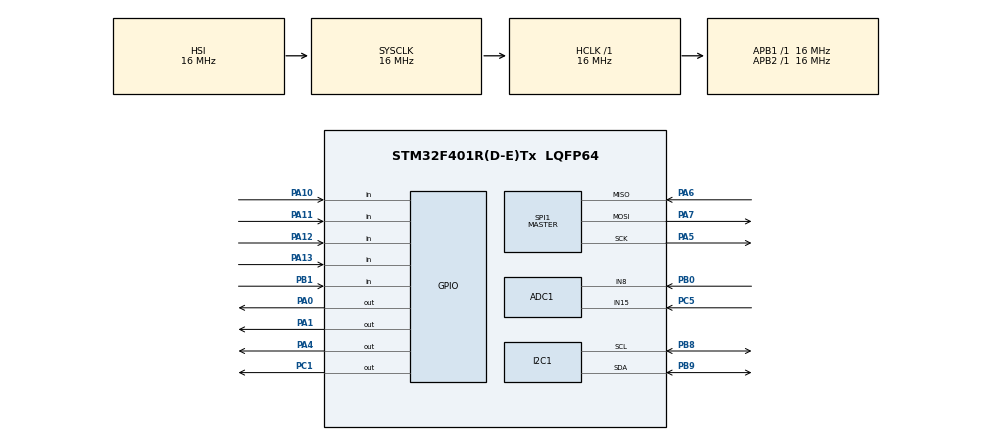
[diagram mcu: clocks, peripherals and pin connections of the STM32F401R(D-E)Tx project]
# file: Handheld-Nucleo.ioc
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ADC1.Channel-0\#ChannelRegularConversion=ADC_CHANNEL_15
ADC1.NbrOfConversionFlag=1
ADC1.Rank-0\#ChannelRegularConversion=1
ADC1.SamplingTime-0\#ChannelRegularConversion=ADC_SAMPLETIME_3CYCLES
ADC1.master=1
Mcu.Family=STM32F4
Mcu.Name=STM32F401R(D-E)Tx
Mcu.Package=LQFP64
NVIC.PriorityGroup=NVIC_PRIORITYGROUP_4
PA0-WKUP.Signal=GPIO_Output
PA1.Signal=GPIO_Output
PA10.Signal=GPIO_Input
PA11.Signal=GPIO_Input
PA12.Signal=GPIO_Input
PA13.Signal=GPIO_Input
PA4.Signal=GPIO_Output
PA5.Mode=Full_Duplex_Master
PA5.Signal=SPI1_SCK
PA6.Mode=Full_Duplex_Master
PA6.Signal=SPI1_MISO
PA7.Mode=Full_Duplex_Master
PA7.Signal=SPI1_MOSI
PB0.Signal=ADCx_IN8
PB1.Signal=GPIO_Input
PB8.Mode=I2C
PB8.Signal=I2C1_SCL
PB9.Mode=I2C
PB9.Signal=I2C1_SDA
PC1.Signal=GPIO_Output
PC5.Signal=ADCx_IN15
PH0\ -\ OSC_IN.Mode=HSE-External-Oscillator
PH0\ -\ OSC_IN.Signal=RCC_OSC_IN
PH1\ -\ OSC_OUT.Mode=HSE-External-Oscillator
PH1\ -\ OSC_OUT.Signal=RCC_OSC_OUT
ProjectManager.HeapSize=0x200
ProjectManager.StackSize=0x400
ProjectManager.TargetToolchain=STM32CubeIDE
RCC.AHBFreq_Value=16000000
RCC.APB1Freq_Value=16000000
RCC.APB2Freq_Value=16000000
RCC.CortexFreq_Value=16000000
RCC.HSE_VALUE=25000000
RCC.HSI_VALUE=16000000
RCC.LSE_VALUE=32768
RCC.SYSCLKFreq_VALUE=16000000
RCC.VCOOutputFreq_Value=192000000
SH.ADCx_IN15.0=ADC1_IN15,IN15
SH.ADCx_IN8.0=ADC1_IN8,IN8
SPI1.Direction=SPI_DIRECTION_2LINES
SPI1.Mode=SPI_MODE_MASTER
SPI1.VirtualType=VM_MASTER
board=custom

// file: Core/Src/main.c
/* USER CODE BEGIN Header */
/**
  ******************************************************************************
  * @file           : main.c
  * @brief          : Main program body
  ******************************************************************************
  * @attention
  *
  * Copyright (c) 2025 STMicroelectronics.
  * All rights reserved.
  *
  * This software is licensed under terms that can be found in the LICENSE file
  * in the root directory of this software component.
  * If no LICENSE file comes with this software, it is provided AS-IS.
  *
  ******************************************************************************
  */
/* USER CODE END Header */
#include "main.h"
#include <stdbool.h>
#include <string.h>
#include "snake.h"
#include "pingpong.h"
#include "ili9341.h"
#include "fonts.h"
#include "testimg.h"
#include "mpu6050.h"

/* USER CODE BEGIN PD */
#define STATE_INTRO 0
#define STATE_MENU 1
#define STATE_GAME_SNAKE 2
#define STATE_GAME_PONG 3
#define STATE_GAME_OVER 4
#define MPU_ACCEL_X_UP_THRESHOLD 2500
#define MPU_ACCEL_X_DOWN_THRESHOLD 1500
#define MPU_ACCEL_Y_LEFT_THRESHOLD 1500
#define MPU_ACCEL_Y_RIGHT_THRESHOLD 2500
#define MPU_LED_PORT GPIOC
#define MPU_LED_PIN GPIO_PIN_1
#define JOYSTICK_X_ADC_CHANNEL ADC_CHANNEL_15
#define JOYSTICK_Y_ADC_CHANNEL ADC_CHANNEL_8
#define JOYSTICK_BUTTON_PORT GPIOC
#define JOYSTICK_BUTTON_PIN GPIO_PIN_4
#define JOYSTICK_THRESHOLD 3500

/* USER CODE END PD */

/* USER CODE BEGIN PM */
uint16_t getADC(uint32_t channel);
bool isButtonHeld(GPIO_TypeDef *port, uint16_t pin);
void handleInput(void);
void drawIntroScreen(void);
void drawMenuScreen(void);
void drawGameOverScreen(void);
void runSnakeGame(void);
void runPingPongGame(void);

/* USER CODE END PM */

ADC_HandleTypeDef hadc1;

I2C_HandleTypeDef hi2c1;

SPI_HandleTypeDef hspi1;

/* USER CODE BEGIN PV */
volatile int currentState = STATE_INTRO;
volatile int menuSelection = 0; // 0 for Snake, 1 for Ping Pong
volatile bool isMpuControl = false;
uint32_t lastButtonPressTime = 0;
const uint32_t buttonDebounceDelay = 200;
volatile int mpu_x, mpu_y, mpu_z;
volatile bool snake_first_draw = true;

/* USER CODE END PV */

void SystemClock_Config(void);
static void MX_GPIO_Init(void);
static void MX_ADC1_Init(void);
static void MX_I2C1_Init(void);
static void MX_SPI1_Init(void);

int main(void)
{

  /* MCU Configuration--------------------------------------------------------*/

  /* Reset of all peripherals, Initializes the Flash interface and the Systick. */
  HAL_Init();

  /* Configure the system clock */
  SystemClock_Config();

  /* Initialize all configured peripherals */
  MX_GPIO_Init();
  MX_ADC1_Init();
  MX_I2C1_Init();
  MX_SPI1_Init();
  /* USER CODE BEGIN 2 */
  ILI9341_Init();
    MPU6050_Init();
    drawIntroScreen();

  /* USER CODE END 2 */

  /* Infinite loop */
  while (1)
  {
	  handleInput();
	  	      /* USER CODE END WHILE */
	  	  	  switch (currentState) {
	  	  	              case STATE_MENU:
	  	  	                  drawMenuScreen();
	  	  	                  break;
	  	  	              case STATE_GAME_SNAKE:
	  	  	                  runSnakeGame();
	  	  	                  break;
	  	  	              case STATE_GAME_PONG:
	  	  	                  runPingPongGame();
	  	  	                  break;
	  	  	              case STATE_GAME_OVER:
	  	  	                  drawGameOverScreen();
	  	  	                  break;
	  	  	              default:
	  	  	                  break;
	  	  	          }

  }
}
void drawIntroScreen(void) {
    ILI9341_FillScreen(ILI9341_BLACK);
    ILI9341_DrawImage(128, 40, 64, 64, intro);
    char temp_msg[] = "HANDHELD-CONSOLE";
    ILI9341_WriteString(32, 204,temp_msg, Font_16x26, ILI9341_WHITE, ILI9341_BLACK);
    HAL_Delay(2000);
    currentState = STATE_MENU;
}
void drawMenuScreen(void) {
    ILI9341_FillScreen(ILI9341_BLACK);
    char temp_msg[] = "SELECT GAME";
    ILI9341_WriteString(72, 10, temp_msg, Font_16x26, ILI9341_WHITE, ILI9341_BLACK);

    if (menuSelection == 0) {
        ILI9341_DrawImage(80, 56, 160, 40, menu1_2); // Highlighted Snake
        ILI9341_DrawImage(80, 116, 160, 40, menu2_1); // Unhighlighted Pong
    } else {
        ILI9341_DrawImage(80, 56, 160, 40, menu1_1); // Unhighlighted Snake
        ILI9341_DrawImage(80, 116, 160, 40, menu2_2); // Highlighted Pong
    }
}
void drawGameOverScreen(void) {
    ILI9341_FillScreen(ILI9341_BLACK);
    char temp_msg1[] = "Game Over";
    char temp_msg2[] = "Press Select to retry";
    ILI9341_WriteString(ILI9341_WIDTH / 2 - 50, ILI9341_HEIGHT / 2, temp_msg1, Font_16x26, ILI9341_RED, ILI9341_BLACK);
    ILI9341_WriteString(ILI9341_WIDTH / 2 - 80, ILI9341_HEIGHT / 2 + 30, temp_msg2, Font_7x10, ILI9341_WHITE, ILI9341_BLACK);
}
void handleInput(void) {
    //bool selectButtonPressed = (HAL_GPIO_ReadPin(JOYSTICK_BUTTON_PORT, JOYSTICK_BUTTON_PIN) == GPIO_PIN_SET);

    if ((HAL_GPIO_ReadPin(GPIOA , GPIO_PIN_10)==GPIO_PIN_RESET) ) {
        if (currentState == STATE_MENU) {
            if (menuSelection ==  0) {
            	 ILI9341_FillScreen(ILI9341_BLACK);
                 ILI9341_DrawImage(40,0,240,240,snake_intro);
                 ILI9341_FillScreen(ILI9341_BLACK);
                 ILI9341_DrawImage(0,0,320,35,bg_final_top);
                 ILI9341_DrawImage(0,205,320,35,bg_final_bottom);
                 ILI9341_DrawImage(0,35,47,170,bg_final_left);
                 ILI9341_DrawImage(274,35,46,170,bg_final_right);
                SNAKE_Init();
                currentState = STATE_GAME_SNAKE;
            } else if (menuSelection == 1) {
                currentState = STATE_GAME_PONG;
                ILI9341_FillScreen(ILI9341_BLACK);
                PingPong_Init();
            }
        } else if (currentState == STATE_GAME_OVER) {
            currentState = STATE_MENU;
            drawMenuScreen();
        } else {
            isMpuControl = !isMpuControl;
            if (isMpuControl) {
                HAL_GPIO_WritePin(MPU_LED_PORT, MPU_LED_PIN, GPIO_PIN_SET);
            } else {
                HAL_GPIO_WritePin(MPU_LED_PORT, MPU_LED_PIN, GPIO_PIN_RESET);
            }
        }
    }

    if (currentState == STATE_MENU) {
        uint16_t xVal = getADC(JOYSTICK_X_ADC_CHANNEL);
        if (HAL_GPIO_ReadPin(GPIOA,GPIO_PIN_11)==GPIO_PIN_RESET) { // Joystick UP
            menuSelection = 0;
        } else if (HAL_GPIO_ReadPin(GPIOA,GPIO_PIN_12)==GPIO_PIN_RESET) { // Joystick DOWN
            menuSelection = 1;
        }
    }
}
bool isButtonHeld(GPIO_TypeDef *port, uint16_t pin) {
    return (HAL_GPIO_ReadPin(port, pin) == GPIO_PIN_RESET);
}
void runSnakeGame(void) {
    if (SNAKE_getOver()) {
    	ILI9341_FillScreen(ILI9341_BLACK);
    	ILI9341_DrawImage(40, 0, 240, 240, snake_outro);
    	HAL_Delay(500);
        if(isButtonHeld(JOYSTICK_BUTTON_PORT,JOYSTICK_BUTTON_PIN)) currentState = STATE_MENU;
        return;
    }
    int direction;
    if (snake_first_draw){
    	direction = 1;
    	snake_first_draw = false;

    }

    if (isMpuControl) {
        MPU6050_Read_Accel(&mpu_x, &mpu_y, &mpu_z);
        if (mpu_x > MPU_ACCEL_X_UP_THRESHOLD) direction = 4; // Up
        if (mpu_x < MPU_ACCEL_X_DOWN_THRESHOLD) direction = 2; // Down
        if (mpu_y > MPU_ACCEL_Y_RIGHT_THRESHOLD) direction = 1; // Right
        if (mpu_y < MPU_ACCEL_Y_LEFT_THRESHOLD) direction = 3; // Left
    } else {
        uint16_t xVal = getADC(JOYSTICK_X_ADC_CHANNEL);
        uint16_t yVal = getADC(JOYSTICK_Y_ADC_CHANNEL);

        if (xVal > JOYSTICK_THRESHOLD) direction = 4; // Up
        if (xVal < 4095 - JOYSTICK_THRESHOLD) direction = 2; // Down
        if (yVal > JOYSTICK_THRESHOLD) direction = 1; // Right
        if (yVal < 4095 - JOYSTICK_THRESHOLD) direction = 3; // Left
    }

    if (direction != 0) {
        SNAKE_ChangeDirection(direction);
    }

    SNAKE_updateGame();
    SNAKE_drawGame();
    HAL_Delay(100);
}
void runPingPongGame(void) {
    if (PingPong_IsGameOver()) {
        currentState = STATE_GAME_OVER;
        return;
    }

    bool upPressed = false;
    bool downPressed = false;

    if (isMpuControl) {
        MPU6050_Read_Accel(&mpu_x, &mpu_y, &mpu_z);
        if (mpu_x > MPU_ACCEL_X_UP_THRESHOLD) upPressed = true;
        else if (mpu_x < MPU_ACCEL_X_DOWN_THRESHOLD) downPressed = true;
    } else {
        uint16_t xVal = getADC(JOYSTICK_X_ADC_CHANNEL);
        if (xVal > JOYSTICK_THRESHOLD) upPressed = true;
        else if (xVal < 4095 - JOYSTICK_THRESHOLD) downPressed = true;
    }

    PingPong_Update(upPressed, downPressed);
    PingPong_Draw();
    HAL_Delay(20);
}

uint16_t getADC(uint32_t channel){
    ADC_ChannelConfTypeDef adc_confg = {0};
    adc_confg.Channel = channel;
    adc_confg.Rank = 1;
    adc_confg.SamplingTime = ADC_SAMPLETIME_56CYCLES;
    HAL_ADC_ConfigChannel(&hadc1,&adc_confg);
    HAL_ADC_Start(&hadc1);
    HAL_ADC_PollForConversion(&hadc1 , HAL_MAX_DELAY);
    uint16_t val = HAL_ADC_GetValue(&hadc1);
    HAL_ADC_Stop(&hadc1);
    return val;
}

void SystemClock_Config(void)
{
  RCC_OscInitTypeDef RCC_OscInitStruct = {0};
  RCC_ClkInitTypeDef RCC_ClkInitStruct = {0};

  /** Configure the main internal regulator output voltage
  */
  __HAL_RCC_PWR_CLK_ENABLE();
  __HAL_PWR_VOLTAGESCALING_CONFIG(PWR_REGULATOR_VOLTAGE_SCALE2);

  /** Initializes the RCC Oscillators according to the specified parameters
  * in the RCC_OscInitTypeDef structure.
  */
  RCC_OscInitStruct.OscillatorType = RCC_OSCILLATORTYPE_HSI;
  RCC_OscInitStruct.HSIState = RCC_HSI_ON;
  RCC_OscInitStruct.HSICalibrationValue = RCC_HSICALIBRATION_DEFAULT;
  RCC_OscInitStruct.PLL.PLLState = RCC_PLL_NONE;
  if (HAL_RCC_OscConfig(&RCC_OscInitStruct) != HAL_OK)
  {
    Error_Handler();
  }

  /** Initializes the CPU, AHB and APB buses clocks
  */
  RCC_ClkInitStruct.ClockType = RCC_CLOCKTYPE_HCLK|RCC_CLOCKTYPE_SYSCLK
                              |RCC_CLOCKTYPE_PCLK1|RCC_CLOCKTYPE_PCLK2;
  RCC_ClkInitStruct.SYSCLKSource = RCC_SYSCLKSOURCE_HSI;
  RCC_ClkInitStruct.AHBCLKDivider = RCC_SYSCLK_DIV1;
  RCC_ClkInitStruct.APB1CLKDivider = RCC_HCLK_DIV1;
  RCC_ClkInitStruct.APB2CLKDivider = RCC_HCLK_DIV1;

  if (HAL_RCC_ClockConfig(&RCC_ClkInitStruct, FLASH_LATENCY_0) != HAL_OK)
  {
    Error_Handler();
  }
}

static void MX_ADC1_Init(void)
{

  ADC_ChannelConfTypeDef sConfig = {0};

  /** Configure the global features of the ADC (Clock, Resolution, Data Alignment and number of conversion)
  */
  hadc1.Instance = ADC1;
  hadc1.Init.ClockPrescaler = ADC_CLOCK_SYNC_PCLK_DIV2;
  hadc1.Init.Resolution = ADC_RESOLUTION_12B;
  hadc1.Init.ScanConvMode = DISABLE;
  hadc1.Init.ContinuousConvMode = DISABLE;
  hadc1.Init.DiscontinuousConvMode = DISABLE;
  hadc1.Init.ExternalTrigConvEdge = ADC_EXTERNALTRIGCONVEDGE_NONE;
  hadc1.Init.ExternalTrigConv = ADC_SOFTWARE_START;
  hadc1.Init.DataAlign = ADC_DATAALIGN_RIGHT;
  hadc1.Init.NbrOfConversion = 1;
  hadc1.Init.DMAContinuousRequests = DISABLE;
  hadc1.Init.EOCSelection = ADC_EOC_SINGLE_CONV;
  if (HAL_ADC_Init(&hadc1) != HAL_OK)
  {
    Error_Handler();
  }

  /** Configure for the selected ADC regular channel its corresponding rank in the sequencer and its sample time.
  */
  sConfig.Channel = ADC_CHANNEL_15;
  sConfig.Rank = 1;
  sConfig.SamplingTime = ADC_SAMPLETIME_3CYCLES;
  if (HAL_ADC_ConfigChannel(&hadc1, &sConfig) != HAL_OK)
  {
    Error_Handler();
  }

}

static void MX_I2C1_Init(void)
{

  hi2c1.Instance = I2C1;
  hi2c1.Init.ClockSpeed = 100000;
  hi2c1.Init.DutyCycle = I2C_DUTYCYCLE_2;
  hi2c1.Init.OwnAddress1 = 0;
  hi2c1.Init.AddressingMode = I2C_ADDRESSINGMODE_7BIT;
  hi2c1.Init.DualAddressMode = I2C_DUALADDRESS_DISABLE;
  hi2c1.Init.OwnAddress2 = 0;
  hi2c1.Init.GeneralCallMode = I2C_GENERALCALL_DISABLE;
  hi2c1.Init.NoStretchMode = I2C_NOSTRETCH_DISABLE;
  if (HAL_I2C_Init(&hi2c1) != HAL_OK)
  {
    Error_Handler();
  }

}

static void MX_SPI1_Init(void)
{

  /* SPI1 parameter configuration*/
  hspi1.Instance = SPI1;
  hspi1.Init.Mode = SPI_MODE_MASTER;
  hspi1.Init.Direction = SPI_DIRECTION_2LINES;
  hspi1.Init.DataSize = SPI_DATASIZE_8BIT;
  hspi1.Init.CLKPolarity = SPI_POLARITY_LOW;
  hspi1.Init.CLKPhase = SPI_PHASE_1EDGE;
  hspi1.Init.NSS = SPI_NSS_SOFT;
  hspi1.Init.BaudRatePrescaler = SPI_BAUDRATEPRESCALER_2;
  hspi1.Init.FirstBit = SPI_FIRSTBIT_MSB;
  hspi1.Init.TIMode = SPI_TIMODE_DISABLE;
  hspi1.Init.CRCCalculation = SPI_CRCCALCULATION_DISABLE;
  hspi1.Init.CRCPolynomial = 10;
  if (HAL_SPI_Init(&hspi1) != HAL_OK)
  {
    Error_Handler();
  }

}

static void MX_GPIO_Init(void)
{
  GPIO_InitTypeDef GPIO_InitStruct = {0};

  /* GPIO Ports Clock Enable */
  __HAL_RCC_GPIOH_CLK_ENABLE();
  __HAL_RCC_GPIOC_CLK_ENABLE();
  __HAL_RCC_GPIOA_CLK_ENABLE();
  __HAL_RCC_GPIOB_CLK_ENABLE();

  /*Configure GPIO pin Output Level */
  HAL_GPIO_WritePin(GPIOC, GPIO_PIN_1, GPIO_PIN_RESET);

  /*Configure GPIO pin Output Level */
  HAL_GPIO_WritePin(GPIOA, GPIO_PIN_0|GPIO_PIN_1|GPIO_PIN_4, GPIO_PIN_RESET);

  /*Configure GPIO pin : PC1 */
  GPIO_InitStruct.Pin = GPIO_PIN_1;
  GPIO_InitStruct.Mode = GPIO_MODE_OUTPUT_PP;
  GPIO_InitStruct.Pull = GPIO_NOPULL;
  GPIO_InitStruct.Speed = GPIO_SPEED_FREQ_LOW;
  HAL_GPIO_Init(GPIOC, &GPIO_InitStruct);

  /*Configure GPIO pins : PA0 PA1 PA4 */
  GPIO_InitStruct.Pin = GPIO_PIN_0|GPIO_PIN_1|GPIO_PIN_4;
  GPIO_InitStruct.Mode = GPIO_MODE_OUTPUT_PP;
  GPIO_InitStruct.Pull = GPIO_NOPULL;
  GPIO_InitStruct.Speed = GPIO_SPEED_FREQ_LOW;
  HAL_GPIO_Init(GPIOA, &GPIO_InitStruct);

  /*Configure GPIO pin : PB1 */
  GPIO_InitStruct.Pin = GPIO_PIN_1;
  GPIO_InitStruct.Mode = GPIO_MODE_INPUT;
  GPIO_InitStruct.Pull = GPIO_NOPULL;
  HAL_GPIO_Init(GPIOB, &GPIO_InitStruct);

  /*Configure GPIO pins : PA10 PA11 PA12 PA13 */
  GPIO_InitStruct.Pin = GPIO_PIN_10|GPIO_PIN_11|GPIO_PIN_12|GPIO_PIN_13;
  GPIO_InitStruct.Mode = GPIO_MODE_INPUT;
  GPIO_InitStruct.Pull = GPIO_NOPULL;
  HAL_GPIO_Init(GPIOA, &GPIO_InitStruct);

}

void Error_Handler(void)
{
  __disable_irq();
  while (1)
  {
  }
}
